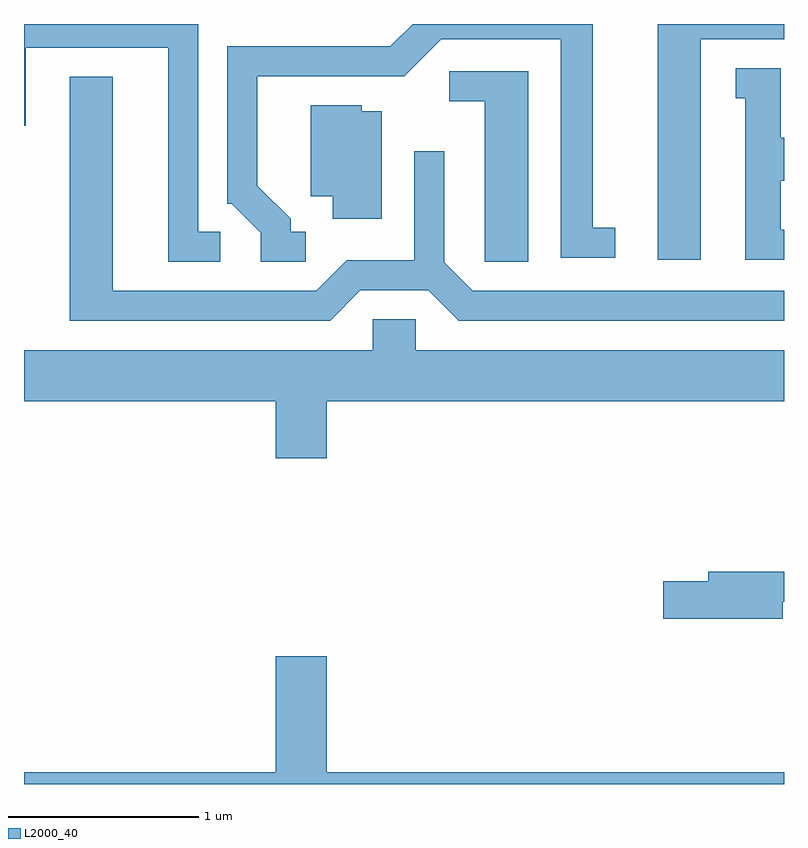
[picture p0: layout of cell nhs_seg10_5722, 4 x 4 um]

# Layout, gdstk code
import gdstk
lib = gdstk.Library(unit=1e-6, precision=1e-09)
def P(c, l, *ps):  # polygons
    for p in ps: c.add(gdstk.Polygon(p, *l))
L2000_40 = (2000, 40)

nhs_seg10_5722 = lib.new_cell('nhs_seg10_5722')
P(nhs_seg10_5722, L2000_40, [(354.643,2161.429),(354.529,2161.429),(354.529,2162.522),(353.611,2162.522),(353.611,2161.986),(353.619,2161.986),(353.619,2162.396),(354.371,2162.396),(354.371,2161.271),(354.643,2161.271)],
  [(355.093,2161.429),(355.014,2161.429),(355.014,2161.497),(354.839,2161.672),(354.839,2162.246),(355.612,2162.246),(355.807,2162.441),(356.436,2162.441),(356.436,2161.291),(356.723,2161.291),(356.723,2161.449),(356.604,2161.449),(356.604,2162.522),(355.657,2162.522),(355.539,2162.404),(354.681,2162.404),(354.681,2161.576),(354.704,2161.576),(354.856,2161.424),(354.856,2161.271),(355.093,2161.271)],
  [(357.174,2162.441),(357.611,2162.441),(357.611,2162.522),(356.946,2162.522),(356.946,2161.281),(357.174,2161.281)],
  [(357.611,2161.439),(357.594,2161.439),(357.594,2161.696),(357.611,2161.696),(357.611,2161.924),(357.594,2161.924),(357.594,2162.289),(357.358,2162.289),(357.358,2162.131),(357.406,2162.131),(357.406,2161.281),(357.611,2161.281)],
  [(356.264,2162.274),(355.848,2162.274),(355.848,2162.116),(356.036,2162.116),(356.036,2161.271),(356.264,2161.271)],
  [(355.382,2161.121),(355.739,2161.121),(355.899,2160.961),(357.611,2160.961),(357.611,2161.119),(355.972,2161.119),(355.824,2161.267),(355.824,2161.853),(355.666,2161.853),(355.666,2161.279),(355.309,2161.279),(355.149,2161.119),(354.079,2161.119),(354.079,2162.244),(353.851,2162.244),(353.851,2160.961),(355.222,2160.961)],
  [(355.494,2162.064),(355.389,2162.064),(355.389,2162.094),(355.121,2162.094),(355.121,2161.616),(355.236,2161.616),(355.236,2161.496),(355.494,2161.496)],
  [(355.204,2160.536),(357.611,2160.536),(357.611,2160.804),(355.674,2160.804),(355.674,2160.969),(355.446,2160.969),(355.446,2160.804),(353.611,2160.804),(353.611,2160.536),(354.936,2160.536),(354.936,2160.236),(355.204,2160.236)],
  [(357.604,2159.481),(357.611,2159.481),(357.611,2159.639),(357.211,2159.639),(357.211,2159.589),(356.976,2159.589),(356.976,2159.391),(357.604,2159.391)],
  [(353.611,2158.522),(357.611,2158.522),(357.611,2158.584),(355.204,2158.584),(355.204,2159.194),(354.936,2159.194),(354.936,2158.584),(353.611,2158.584)])

lib.write_gds('nhs_seg10_5722.gds')
